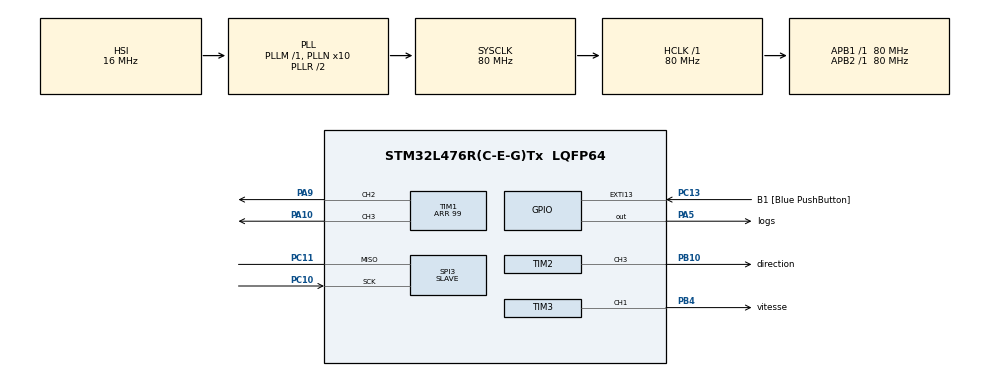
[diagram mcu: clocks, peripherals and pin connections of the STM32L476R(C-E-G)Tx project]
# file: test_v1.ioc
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Dma.Request0=TIM1_CH2
Dma.Request1=TIM1_CH3
Dma.TIM1_CH2.0.Direction=DMA_MEMORY_TO_PERIPH
Dma.TIM1_CH2.0.Instance=DMA1_Channel3
Dma.TIM1_CH2.0.MemDataAlignment=DMA_MDATAALIGN_HALFWORD
Dma.TIM1_CH2.0.MemInc=DMA_MINC_ENABLE
Dma.TIM1_CH2.0.Mode=DMA_NORMAL
Dma.TIM1_CH2.0.PeriphDataAlignment=DMA_PDATAALIGN_HALFWORD
Dma.TIM1_CH2.0.PeriphInc=DMA_PINC_DISABLE
Dma.TIM1_CH2.0.Priority=DMA_PRIORITY_HIGH
Dma.TIM1_CH3.1.Direction=DMA_MEMORY_TO_PERIPH
Dma.TIM1_CH3.1.Instance=DMA1_Channel7
Dma.TIM1_CH3.1.MemDataAlignment=DMA_MDATAALIGN_HALFWORD
Dma.TIM1_CH3.1.MemInc=DMA_MINC_ENABLE
Dma.TIM1_CH3.1.Mode=DMA_NORMAL
Dma.TIM1_CH3.1.PeriphDataAlignment=DMA_PDATAALIGN_HALFWORD
Dma.TIM1_CH3.1.PeriphInc=DMA_PINC_DISABLE
Dma.TIM1_CH3.1.Priority=DMA_PRIORITY_HIGH
FREERTOS.Tasks01=defaultTask,0,128,StartDefaultTask,Default,NULL,Dynamic,NULL,NULL
FREERTOS.configENABLE_BACKWARD_COMPATIBILITY=0
FREERTOS.configIDLE_SHOULD_YIELD=1
FREERTOS.configUSE_MUTEXES=0
Mcu.Family=STM32L4
Mcu.Name=STM32L476R(C-E-G)Tx
Mcu.Package=LQFP64
NVIC.DMA1_Channel3_IRQn=true\:5\:0\:false\:false\:true\:true\:false\:true\:true
NVIC.DMA1_Channel7_IRQn=true\:5\:0\:false\:false\:true\:true\:false\:true\:true
NVIC.PriorityGroup=NVIC_PRIORITYGROUP_4
PA10.Signal=S_TIM1_CH3
PA13\ (JTMS-SWDIO).GPIO_Label=TMS
PA13\ (JTMS-SWDIO).Signal=SYS_JTMS-SWDIO
PA14\ (JTCK-SWCLK).GPIO_Label=TCK
PA14\ (JTCK-SWCLK).Signal=SYS_JTCK-SWCLK
PA2.GPIO_Label=USART_TX
PA2.GPIO_Mode=GPIO_MODE_AF_PP
PA2.GPIO_PuPd=GPIO_NOPULL
PA2.GPIO_Speed=GPIO_SPEED_FREQ_VERY_HIGH
PA2.Signal=USART2_TX
PA3.GPIO_Label=USART_RX
PA3.GPIO_Mode=GPIO_MODE_AF_PP
PA3.GPIO_PuPd=GPIO_NOPULL
PA3.GPIO_Speed=GPIO_SPEED_FREQ_VERY_HIGH
PA3.Signal=USART2_RX
PA5.GPIO_Label=logs
PA5.Signal=GPIO_Output
PA9.Signal=S_TIM1_CH2
PB10.GPIO_Label=direction
PB10.Signal=S_TIM2_CH3
PB3\ (JTDO-TRACESWO).GPIO_Label=SWO
PB3\ (JTDO-TRACESWO).Signal=SYS_JTDO-SWO
PB4\ (NJTRST).GPIO_Label=vitesse
PB4\ (NJTRST).Signal=S_TIM3_CH1
PC10.Mode=Simplex_Bidirectional_Slave
PC10.Signal=SPI3_SCK
PC11.Mode=Simplex_Bidirectional_Slave
PC11.Signal=SPI3_MISO
PC13.GPIO_Label=B1 [Blue PushButton]
PC13.GPIO_ModeDefaultEXTI=GPIO_MODE_IT_FALLING
PC13.GPIO_PuPd=GPIO_NOPULL
PC13.Signal=GPXTI13
PC14-OSC32_IN\ (PC14).Signal=RCC_OSC32_IN
PC15-OSC32_OUT\ (PC15).Signal=RCC_OSC32_OUT
PH0-OSC_IN\ (PH0).Signal=RCC_OSC_IN
PH1-OSC_OUT\ (PH1).Signal=RCC_OSC_OUT
ProjectManager.HeapSize=0x200
ProjectManager.StackSize=0x400
ProjectManager.TargetToolchain=STM32CubeIDE
RCC.ADCFreq_Value=64000000
RCC.AHBFreq_Value=80000000
RCC.APB1Freq_Value=80000000
RCC.APB1TimFreq_Value=80000000
RCC.APB2Freq_Value=80000000
RCC.APB2TimFreq_Value=80000000
RCC.CortexFreq_Value=80000000
RCC.HCLKFreq_Value=80000000
RCC.HSE_VALUE=8000000
RCC.HSI_VALUE=16000000
RCC.LSE_VALUE=32768
RCC.MSI_VALUE=4000000
RCC.PLLN=10
RCC.PLLSourceVirtual=RCC_PLLSOURCE_HSI
RCC.PREFETCH_ENABLE=1
RCC.SYSCLKFreq_VALUE=80000000
RCC.SYSCLKSource=RCC_SYSCLKSOURCE_PLLCLK
RCC.USBFreq_Value=64000000
RCC.VCOOutputFreq_Value=160000000
SH.S_TIM1_CH2.0=TIM1_CH2,PWM Generation2 CH2
SH.S_TIM1_CH3.0=TIM1_CH3,PWM Generation3 CH3
SH.S_TIM2_CH3.0=TIM2_CH3,PWM Generation3 CH3
SH.S_TIM3_CH1.0=TIM3_CH1,PWM Generation1 CH1
SPI3.Direction=SPI_DIRECTION_1LINE
SPI3.Mode=SPI_MODE_SLAVE
SPI3.VirtualType=VM_SLAVE
TIM1.AutoReloadPreload=TIM_AUTORELOAD_PRELOAD_ENABLE
TIM1.Channel-PWM\ Generation2\ CH2=TIM_CHANNEL_2
TIM1.Channel-PWM\ Generation3\ CH3=TIM_CHANNEL_3
TIM1.OCFastMode_PWM-PWM\ Generation2\ CH2=TIM_OCFAST_ENABLE
TIM1.OCFastMode_PWM-PWM\ Generation3\ CH3=TIM_OCFAST_ENABLE
TIM1.Period=99
TIM2.Channel-PWM\ Generation3\ CH3=TIM_CHANNEL_3
TIM3.Channel-PWM\ Generation1\ CH1=TIM_CHANNEL_1
VP_FREERTOS_VS_CMSIS_V1.Mode=CMSIS_V1
VP_TIM1_VS_ClockSourceINT.Mode=Internal
board=NUCLEO-L476RG

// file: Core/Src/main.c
/* USER CODE BEGIN Header */
/**
  ******************************************************************************
  * @file           : main.c
  * @brief          : Main program body
  ******************************************************************************
  * @attention
  *
  * Copyright (c) 2025 STMicroelectronics.
  * All rights reserved.
  *
  * This software is licensed under terms that can be found in the LICENSE file
  * in the root directory of this software component.
  * If no LICENSE file comes with this software, it is provided AS-IS.
  *
  ******************************************************************************
  */
/* USER CODE END Header */
#include "main.h"
#include "cmsis_os.h"

/* USER CODE BEGIN Includes */
#include "ensi_uart.h"
/* USER CODE END Includes */

SPI_HandleTypeDef hspi3;

TIM_HandleTypeDef htim1;
TIM_HandleTypeDef htim2;
TIM_HandleTypeDef htim3;
DMA_HandleTypeDef hdma_tim1_ch2;
DMA_HandleTypeDef hdma_tim1_ch3;

osThreadId defaultTaskHandle;

void SystemClock_Config(void);
static void MX_GPIO_Init(void);
static void MX_DMA_Init(void);
static void MX_TIM2_Init(void);
static void MX_SPI3_Init(void);
static void MX_TIM3_Init(void);
static void MX_TIM1_Init(void);
void StartDefaultTask(void const * argument);

int main(void)
{

  /* MCU Configuration--------------------------------------------------------*/

  /* Reset of all peripherals, Initializes the Flash interface and the Systick. */
  HAL_Init();

  /* Configure the system clock */
  SystemClock_Config();

  /* Initialize all configured peripherals */
  MX_GPIO_Init();
  MX_DMA_Init();
  MX_TIM2_Init();
  MX_SPI3_Init();
  MX_TIM3_Init();
  MX_TIM1_Init();
  /* USER CODE BEGIN 2 */
  ENSI_UART_Init();
  ENSI_UART_PutString(((const uint8_t*)"\r\nInitialisation du programme"));

  /* USER CODE END 2 */

  /* Create the thread(s) */
  /* definition and creation of defaultTask */
  osThreadDef(defaultTask, StartDefaultTask, osPriorityNormal, 0, 128);
  defaultTaskHandle = osThreadCreate(osThread(defaultTask), NULL);

  /* USER CODE BEGIN RTOS_THREADS */
  /* add threads, ... */
  app_init();
  /* USER CODE END RTOS_THREADS */

  /* Start scheduler */
  osKernelStart();

  /* We should never get here as control is now taken by the scheduler */

  /* Infinite loop */
  while (1)
  {

  }
}

void SystemClock_Config(void)
{
  RCC_OscInitTypeDef RCC_OscInitStruct = {0};
  RCC_ClkInitTypeDef RCC_ClkInitStruct = {0};

  /** Configure the main internal regulator output voltage
  */
  if (HAL_PWREx_ControlVoltageScaling(PWR_REGULATOR_VOLTAGE_SCALE1) != HAL_OK)
  {
    Error_Handler();
  }

  /** Initializes the RCC Oscillators according to the specified parameters
  * in the RCC_OscInitTypeDef structure.
  */
  RCC_OscInitStruct.OscillatorType = RCC_OSCILLATORTYPE_HSI;
  RCC_OscInitStruct.HSIState = RCC_HSI_ON;
  RCC_OscInitStruct.HSICalibrationValue = RCC_HSICALIBRATION_DEFAULT;
  RCC_OscInitStruct.PLL.PLLState = RCC_PLL_ON;
  RCC_OscInitStruct.PLL.PLLSource = RCC_PLLSOURCE_HSI;
  RCC_OscInitStruct.PLL.PLLM = 1;
  RCC_OscInitStruct.PLL.PLLN = 10;
  RCC_OscInitStruct.PLL.PLLP = RCC_PLLP_DIV7;
  RCC_OscInitStruct.PLL.PLLQ = RCC_PLLQ_DIV2;
  RCC_OscInitStruct.PLL.PLLR = RCC_PLLR_DIV2;
  if (HAL_RCC_OscConfig(&RCC_OscInitStruct) != HAL_OK)
  {
    Error_Handler();
  }

  /** Initializes the CPU, AHB and APB buses clocks
  */
  RCC_ClkInitStruct.ClockType = RCC_CLOCKTYPE_HCLK|RCC_CLOCKTYPE_SYSCLK
                              |RCC_CLOCKTYPE_PCLK1|RCC_CLOCKTYPE_PCLK2;
  RCC_ClkInitStruct.SYSCLKSource = RCC_SYSCLKSOURCE_PLLCLK;
  RCC_ClkInitStruct.AHBCLKDivider = RCC_SYSCLK_DIV1;
  RCC_ClkInitStruct.APB1CLKDivider = RCC_HCLK_DIV1;
  RCC_ClkInitStruct.APB2CLKDivider = RCC_HCLK_DIV1;

  if (HAL_RCC_ClockConfig(&RCC_ClkInitStruct, FLASH_LATENCY_4) != HAL_OK)
  {
    Error_Handler();
  }
}

static void MX_SPI3_Init(void)
{

  /* SPI3 parameter configuration*/
  hspi3.Instance = SPI3;
  hspi3.Init.Mode = SPI_MODE_SLAVE;
  hspi3.Init.Direction = SPI_DIRECTION_1LINE;
  hspi3.Init.DataSize = SPI_DATASIZE_4BIT;
  hspi3.Init.CLKPolarity = SPI_POLARITY_LOW;
  hspi3.Init.CLKPhase = SPI_PHASE_1EDGE;
  hspi3.Init.NSS = SPI_NSS_SOFT;
  hspi3.Init.FirstBit = SPI_FIRSTBIT_MSB;
  hspi3.Init.TIMode = SPI_TIMODE_DISABLE;
  hspi3.Init.CRCCalculation = SPI_CRCCALCULATION_DISABLE;
  hspi3.Init.CRCPolynomial = 7;
  hspi3.Init.CRCLength = SPI_CRC_LENGTH_DATASIZE;
  hspi3.Init.NSSPMode = SPI_NSS_PULSE_DISABLE;
  if (HAL_SPI_Init(&hspi3) != HAL_OK)
  {
    Error_Handler();
  }

}

static void MX_TIM1_Init(void)
{

  TIM_ClockConfigTypeDef sClockSourceConfig = {0};
  TIM_MasterConfigTypeDef sMasterConfig = {0};
  TIM_OC_InitTypeDef sConfigOC = {0};
  TIM_BreakDeadTimeConfigTypeDef sBreakDeadTimeConfig = {0};

  htim1.Instance = TIM1;
  htim1.Init.Prescaler = 0;
  htim1.Init.CounterMode = TIM_COUNTERMODE_UP;
  htim1.Init.Period = 99;
  htim1.Init.ClockDivision = TIM_CLOCKDIVISION_DIV1;
  htim1.Init.RepetitionCounter = 0;
  htim1.Init.AutoReloadPreload = TIM_AUTORELOAD_PRELOAD_ENABLE;
  if (HAL_TIM_Base_Init(&htim1) != HAL_OK)
  {
    Error_Handler();
  }
  sClockSourceConfig.ClockSource = TIM_CLOCKSOURCE_INTERNAL;
  if (HAL_TIM_ConfigClockSource(&htim1, &sClockSourceConfig) != HAL_OK)
  {
    Error_Handler();
  }
  if (HAL_TIM_PWM_Init(&htim1) != HAL_OK)
  {
    Error_Handler();
  }
  sMasterConfig.MasterOutputTrigger = TIM_TRGO_RESET;
  sMasterConfig.MasterOutputTrigger2 = TIM_TRGO2_RESET;
  sMasterConfig.MasterSlaveMode = TIM_MASTERSLAVEMODE_DISABLE;
  if (HAL_TIMEx_MasterConfigSynchronization(&htim1, &sMasterConfig) != HAL_OK)
  {
    Error_Handler();
  }
  sConfigOC.OCMode = TIM_OCMODE_PWM1;
  sConfigOC.Pulse = 0;
  sConfigOC.OCPolarity = TIM_OCPOLARITY_HIGH;
  sConfigOC.OCNPolarity = TIM_OCNPOLARITY_HIGH;
  sConfigOC.OCFastMode = TIM_OCFAST_ENABLE;
  sConfigOC.OCIdleState = TIM_OCIDLESTATE_RESET;
  sConfigOC.OCNIdleState = TIM_OCNIDLESTATE_RESET;
  if (HAL_TIM_PWM_ConfigChannel(&htim1, &sConfigOC, TIM_CHANNEL_2) != HAL_OK)
  {
    Error_Handler();
  }
  if (HAL_TIM_PWM_ConfigChannel(&htim1, &sConfigOC, TIM_CHANNEL_3) != HAL_OK)
  {
    Error_Handler();
  }
  sBreakDeadTimeConfig.OffStateRunMode = TIM_OSSR_DISABLE;
  sBreakDeadTimeConfig.OffStateIDLEMode = TIM_OSSI_DISABLE;
  sBreakDeadTimeConfig.LockLevel = TIM_LOCKLEVEL_OFF;
  sBreakDeadTimeConfig.DeadTime = 0;
  sBreakDeadTimeConfig.BreakState = TIM_BREAK_DISABLE;
  sBreakDeadTimeConfig.BreakPolarity = TIM_BREAKPOLARITY_HIGH;
  sBreakDeadTimeConfig.BreakFilter = 0;
  sBreakDeadTimeConfig.Break2State = TIM_BREAK2_DISABLE;
  sBreakDeadTimeConfig.Break2Polarity = TIM_BREAK2POLARITY_HIGH;
  sBreakDeadTimeConfig.Break2Filter = 0;
  sBreakDeadTimeConfig.AutomaticOutput = TIM_AUTOMATICOUTPUT_DISABLE;
  if (HAL_TIMEx_ConfigBreakDeadTime(&htim1, &sBreakDeadTimeConfig) != HAL_OK)
  {
    Error_Handler();
  }
  HAL_TIM_MspPostInit(&htim1);

}

static void MX_TIM2_Init(void)
{

  TIM_MasterConfigTypeDef sMasterConfig = {0};
  TIM_OC_InitTypeDef sConfigOC = {0};

  htim2.Instance = TIM2;
  htim2.Init.Prescaler = 79;
  htim2.Init.CounterMode = TIM_COUNTERMODE_UP;
  htim2.Init.Period = 19999;
  htim2.Init.ClockDivision = TIM_CLOCKDIVISION_DIV1;
  htim2.Init.AutoReloadPreload = TIM_AUTORELOAD_PRELOAD_DISABLE;
  if (HAL_TIM_PWM_Init(&htim2) != HAL_OK)
  {
    Error_Handler();
  }
  sMasterConfig.MasterOutputTrigger = TIM_TRGO_RESET;
  sMasterConfig.MasterSlaveMode = TIM_MASTERSLAVEMODE_DISABLE;
  if (HAL_TIMEx_MasterConfigSynchronization(&htim2, &sMasterConfig) != HAL_OK)
  {
    Error_Handler();
  }
  sConfigOC.OCMode = TIM_OCMODE_PWM1;
  sConfigOC.Pulse = 0;
  sConfigOC.OCPolarity = TIM_OCPOLARITY_HIGH;
  sConfigOC.OCFastMode = TIM_OCFAST_DISABLE;
  if (HAL_TIM_PWM_ConfigChannel(&htim2, &sConfigOC, TIM_CHANNEL_3) != HAL_OK)
  {
    Error_Handler();
  }
  HAL_TIM_MspPostInit(&htim2);

}

static void MX_TIM3_Init(void)
{

  TIM_MasterConfigTypeDef sMasterConfig = {0};
  TIM_OC_InitTypeDef sConfigOC = {0};

  htim3.Instance = TIM3;
  htim3.Init.Prescaler = 79;
  htim3.Init.CounterMode = TIM_COUNTERMODE_UP;
  htim3.Init.Period = 19999;
  htim3.Init.ClockDivision = TIM_CLOCKDIVISION_DIV1;
  htim3.Init.AutoReloadPreload = TIM_AUTORELOAD_PRELOAD_DISABLE;
  if (HAL_TIM_PWM_Init(&htim3) != HAL_OK)
  {
    Error_Handler();
  }
  sMasterConfig.MasterOutputTrigger = TIM_TRGO_RESET;
  sMasterConfig.MasterSlaveMode = TIM_MASTERSLAVEMODE_DISABLE;
  if (HAL_TIMEx_MasterConfigSynchronization(&htim3, &sMasterConfig) != HAL_OK)
  {
    Error_Handler();
  }
  sConfigOC.OCMode = TIM_OCMODE_PWM1;
  sConfigOC.Pulse = 0;
  sConfigOC.OCPolarity = TIM_OCPOLARITY_HIGH;
  sConfigOC.OCFastMode = TIM_OCFAST_DISABLE;
  if (HAL_TIM_PWM_ConfigChannel(&htim3, &sConfigOC, TIM_CHANNEL_1) != HAL_OK)
  {
    Error_Handler();
  }
  HAL_TIM_MspPostInit(&htim3);

}

static void MX_DMA_Init(void)
{

  /* DMA controller clock enable */
  __HAL_RCC_DMA1_CLK_ENABLE();

  /* DMA interrupt init */
  /* DMA1_Channel3_IRQn interrupt configuration */
  HAL_NVIC_SetPriority(DMA1_Channel3_IRQn, 5, 0);
  HAL_NVIC_EnableIRQ(DMA1_Channel3_IRQn);
  /* DMA1_Channel7_IRQn interrupt configuration */
  HAL_NVIC_SetPriority(DMA1_Channel7_IRQn, 5, 0);
  HAL_NVIC_EnableIRQ(DMA1_Channel7_IRQn);

}

static void MX_GPIO_Init(void)
{
  GPIO_InitTypeDef GPIO_InitStruct = {0};

  /* GPIO Ports Clock Enable */
  __HAL_RCC_GPIOC_CLK_ENABLE();
  __HAL_RCC_GPIOH_CLK_ENABLE();
  __HAL_RCC_GPIOA_CLK_ENABLE();
  __HAL_RCC_GPIOB_CLK_ENABLE();

  /*Configure GPIO pin Output Level */
  HAL_GPIO_WritePin(logs_GPIO_Port, logs_Pin, GPIO_PIN_RESET);

  /*Configure GPIO pin : B1_Pin */
  GPIO_InitStruct.Pin = B1_Pin;
  GPIO_InitStruct.Mode = GPIO_MODE_IT_FALLING;
  GPIO_InitStruct.Pull = GPIO_NOPULL;
  HAL_GPIO_Init(B1_GPIO_Port, &GPIO_InitStruct);

  /*Configure GPIO pins : USART_TX_Pin USART_RX_Pin */
  GPIO_InitStruct.Pin = USART_TX_Pin|USART_RX_Pin;
  GPIO_InitStruct.Mode = GPIO_MODE_AF_PP;
  GPIO_InitStruct.Pull = GPIO_NOPULL;
  GPIO_InitStruct.Speed = GPIO_SPEED_FREQ_VERY_HIGH;
  GPIO_InitStruct.Alternate = GPIO_AF7_USART2;
  HAL_GPIO_Init(GPIOA, &GPIO_InitStruct);

  /*Configure GPIO pin : logs_Pin */
  GPIO_InitStruct.Pin = logs_Pin;
  GPIO_InitStruct.Mode = GPIO_MODE_OUTPUT_PP;
  GPIO_InitStruct.Pull = GPIO_NOPULL;
  GPIO_InitStruct.Speed = GPIO_SPEED_FREQ_LOW;
  HAL_GPIO_Init(logs_GPIO_Port, &GPIO_InitStruct);

}

void StartDefaultTask(void const * argument)
{
  for(;;)
  {
    osDelay(1);
  }
}

void Error_Handler(void)
{
  __disable_irq();
  while (1)
  {
  }
}

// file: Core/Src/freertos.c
/* USER CODE BEGIN Header */
/**
  ******************************************************************************
  * File Name          : freertos.c
  * Description        : Code for freertos applications
  ******************************************************************************
  * @attention
  *
  * Copyright (c) 2025 STMicroelectronics.
  * All rights reserved.
  *
  * This software is licensed under terms that can be found in the LICENSE file
  * in the root directory of this software component.
  * If no LICENSE file comes with this software, it is provided AS-IS.
  *
  ******************************************************************************
  */
/* USER CODE END Header */

#include "FreeRTOS.h"
#include "task.h"
#include "main.h"

/* USER CODE BEGIN Includes */
#include "ensi_uart.h"
#include <stdio.h>
#include "queue.h"
#include <stdarg.h>
#include <string.h>
/* USER CODE END Includes */

/* USER CODE BEGIN Variables */
volatile int duty_direction = 1400;
volatile int duty_vitesse = 1400;
volatile float input_avant = 0.0f;
volatile float input_dir = 0.0f;
volatile float input_arriere = 0.0f;

#define LOG_QUEUE_LENGTH 50
#define LOG_ITEM_SIZE    256

extern TIM_HandleTypeDef htim1;
extern DMA_HandleTypeDef hdma_tim1_ch3;
extern DMA_HandleTypeDef hdma_tim1_ch2;

static uint16_t led_buffer[LED_BUFFER_SIZE];
static uint8_t RGB_buffer[LED_COUNT][3];

static uint16_t circle_led_buffer[CIRCLE_LED_BUFFER_SIZE];
static uint8_t circle_RGBW_buffer[CIRCLE_LED_COUNT][4];

/* USER CODE END Variables */

/* USER CODE BEGIN FunctionPrototypes */
static void byte_to_pwm(uint8_t byte, uint16_t *out);

void np_set_pixel(uint16_t i, uint8_t r, uint8_t g, uint8_t b);
void np_set_all_leds(uint8_t r, uint8_t g, uint8_t b);
void np_clear(void);
void np_show(void);

void np_set_pixel_circle(uint16_t i, uint8_t r, uint8_t g, uint8_t b, uint8_t w);
void np_set_all_leds_circle(uint8_t r, uint8_t g, uint8_t b, uint8_t w);
void np_clear_circle(void);
void np_show_circle(void);
/*
 *
 * STICK LED
 *
 */

static void byte_to_pwm(uint8_t byte, uint16_t *out) {
  for (int i = 0; i < 8; i++) {
    out[i] = (byte & (1 << (7 - i))) ? T1H_TICKS : T0H_TICKS;
  }
}

void np_set_pixel(uint16_t i, uint8_t r, uint8_t g, uint8_t b) {
  if (i >= LED_COUNT) return;
  RGB_buffer[i][0] = g;
  RGB_buffer[i][1] = r;
  RGB_buffer[i][2] = b;
}

void np_set_all_leds(uint8_t r, uint8_t g, uint8_t b){
	for (int pos = 0; pos < LED_COUNT; pos++) {
		np_set_pixel(pos, r, g, b);
	}
}

void np_clear(void) {
  memset(RGB_buffer, 0, sizeof(RGB_buffer));
}

void np_show(void) {
  uint16_t *p = led_buffer;
  for (int i = 0; i < LED_COUNT; i++) {
    byte_to_pwm(RGB_buffer[i][0], p); p += 8; // G
    byte_to_pwm(RGB_buffer[i][1], p); p += 8; // R
    byte_to_pwm(RGB_buffer[i][2], p); p += 8; // B
  }
  for (int i = 0; i < RESET_SLOTS; i++) *p++ = 0;

  __HAL_TIM_SET_AUTORELOAD(&htim1, ARR_VALUE);

  HAL_TIM_PWM_Start_DMA(&htim1, TIM_CHANNEL_3,
                        (uint32_t*)led_buffer, (uint32_t)(p - led_buffer));

  while (hdma_tim1_ch3.State != HAL_DMA_STATE_READY) { }

  HAL_TIM_PWM_Stop_DMA(&htim1, TIM_CHANNEL_3);

}

/*
 *
 * CIRCLE LED
 *
 */

void np_set_pixel_circle(uint16_t i, uint8_t r, uint8_t g, uint8_t b, uint8_t w) {
  if (i >= CIRCLE_LED_COUNT) return;
  circle_RGBW_buffer[i][0] = g;
  circle_RGBW_buffer[i][1] = r;
  circle_RGBW_buffer[i][2] = b;
  circle_RGBW_buffer[i][3] = w;
}

void np_set_all_leds_circle(uint8_t r, uint8_t g, uint8_t b, uint8_t w){
	for (int pos = 0; pos < CIRCLE_LED_COUNT; pos++) {
		np_set_pixel_circle(pos, r, g, b, w);
	}
}

void np_clear_circle(void) {
  memset(circle_RGBW_buffer, 0, sizeof(circle_RGBW_buffer));
}

void np_show_circle(void) {
  uint16_t *p = circle_led_buffer;
  for (int i = 0; i < CIRCLE_LED_COUNT; i++) {
    byte_to_pwm(circle_RGBW_buffer[i][0], p); p += 8; // G
    byte_to_pwm(circle_RGBW_buffer[i][1], p); p += 8; // R
    byte_to_pwm(circle_RGBW_buffer[i][2], p); p += 8; // B
    byte_to_pwm(circle_RGBW_buffer[i][3], p); p += 8; // W
  }
  for (int i = 0; i < RESET_SLOTS; i++) *p++ = 0;

  __HAL_TIM_SET_AUTORELOAD(&htim1, ARR_VALUE);

  HAL_TIM_PWM_Start_DMA(&htim1, TIM_CHANNEL_2,
                        (uint32_t*)circle_led_buffer, (uint32_t)(p - circle_led_buffer));

  // Attendre la fin du DMA
  while (hdma_tim1_ch2.State != HAL_DMA_STATE_READY) { }

  HAL_TIM_PWM_Stop_DMA(&htim1, TIM_CHANNEL_2);

}

/* USER CODE END FunctionPrototypes */

/* GetIdleTaskMemory prototype (linked to static allocation support) */
void vApplicationGetIdleTaskMemory( StaticTask_t **ppxIdleTaskTCBBuffer, StackType_t **ppxIdleTaskStackBuffer, uint32_t *pulIdleTaskStackSize );

/* USER CODE BEGIN GET_IDLE_TASK_MEMORY */
static StaticTask_t xIdleTaskTCBBuffer;
static StackType_t xIdleStack[configMINIMAL_STACK_SIZE];

void vApplicationGetIdleTaskMemory( StaticTask_t **ppxIdleTaskTCBBuffer, StackType_t **ppxIdleTaskStackBuffer, uint32_t *pulIdleTaskStackSize )
{
  *ppxIdleTaskTCBBuffer = &xIdleTaskTCBBuffer;
  *ppxIdleTaskStackBuffer = &xIdleStack[0];
  *pulIdleTaskStackSize = configMINIMAL_STACK_SIZE;
  /* place for user code */
}
/* USER CODE END GET_IDLE_TASK_MEMORY */

/* USER CODE BEGIN Application */
// c'est ici qu'on code :)

TickType_t tick;
extern SPI_HandleTypeDef hspi2;
extern TIM_HandleTypeDef htim2;
extern TIM_HandleTypeDef htim3;
QueueHandle_t logQueue;

void app_init(void);

//void task1(void *pvParameters);
void task2(void *pvParameters);
void task3(void *pvParameters);
//void task4(void *pvParameters);
void task5(void *pvParameters);
//void task6(void *pvParameters);
void LED_ON(void *pvParameters);
void CircleLED_ON(void *pvParameters);

void app_init(void) {

    /* application tasks creation */

	xTaskCreate(LED_ON, "Barrette_LED", configMINIMAL_STACK_SIZE, NULL, tskIDLE_PRIORITY, NULL);
	xTaskCreate(CircleLED_ON, "LED_Circulaire", configMINIMAL_STACK_SIZE, NULL, tskIDLE_PRIORITY, NULL);

	xTaskCreate(task2,
				"direction",
				configMINIMAL_STACK_SIZE,
				NULL,
				tskIDLE_PRIORITY+1,
				NULL);

	xTaskCreate(task3,
				"vitesse",
				configMINIMAL_STACK_SIZE,
				NULL,
				tskIDLE_PRIORITY+1,
				NULL);

	xTaskCreate(task5,
				"conversion",
				configMINIMAL_STACK_SIZE,
				NULL,
				tskIDLE_PRIORITY+1,
				NULL);

}

/*
void task1(void *pvParameters) {
	/*
	 * tâche pour le SPI

	while(1) {
    	taskENTER_CRITICAL();
		input = 0;
    	taskEXIT_CRITICAL();
	}
}
*/
void task2(void *pvParameters) {
	/*
	 * tâche de direction,
	 * 1200 a gauche
	 * 1600 a droite
	 * point neutre a 1400
	*/
    HAL_TIM_PWM_Start(&htim2, TIM_CHANNEL_3);	// initialisation timer pour pwm
	__HAL_TIM_SET_COMPARE(&htim2, TIM_CHANNEL_3, 1400);
    while(1) {
        __HAL_TIM_SET_COMPARE(&htim2, TIM_CHANNEL_3, duty_direction);
        vTaskDelay(pdMS_TO_TICKS(10));
     }
}

void task3(void *pvParameters) {
	/*
	 * tâche de vitesse
	 * Début bruit 1450 / Démarre 1480   / Max 1500 (Plus on va haut, plus ça avance)
	 * Début bruit 1350 / Démarre à 1320 / Max 1300 (Plus on va bas, plus ça recule)
	 * 1300 - 1320 / 1480 - 1500
	 * Break à 1400
	 */
    HAL_TIM_PWM_Start(&htim3, TIM_CHANNEL_1);	// initialisation timer pour pwm
	__HAL_TIM_SET_COMPARE(&htim3, TIM_CHANNEL_1, 1400);
    while(1) {
    	__HAL_TIM_SET_COMPARE(&htim3, TIM_CHANNEL_1, duty_vitesse);
        vTaskDelay(pdMS_TO_TICKS(10));
    }
}

void task5(void *pvParameters) {
	/*
	 * tâche de conversion SPI-input
	 */
    while(1) {
    	taskENTER_CRITICAL();

    	duty_direction = (int)(1400 + input_dir * 200);

    	input_arriere = -(input_arriere +1);
    	input_avant = input_avant + 1;
    	duty_vitesse = (int)(1400 + (input_arriere + input_avant) * 50);

    	taskEXIT_CRITICAL();
    	vTaskDelay(pdMS_TO_TICKS(10));
    }
}
/*
void task6(void *pvParameters) {
    char buf[LOG_ITEM_SIZE];

    for(;;) {
        // Attend un message (bloquant jusqu’à 500 ms max)
        if (xQueueReceive(logQueue, buf, pdMS_TO_TICKS(500)) == pdPASS) {
            HAL_GPIO_WritePin(logs_GPIO_Port, logs_Pin, GPIO_PIN_SET);
            ENSI_UART_PutString((uint8_t*)buf);
            HAL_GPIO_WritePin(logs_GPIO_Port, logs_Pin, GPIO_PIN_RESET);
        }
    }
}
*/
void LED_ON(void *pvParameters){
	while(1){

			np_clear();
			for (int pos = 0; pos < 4; pos++) {
				np_set_pixel(pos, 255, 0, 0);
			}
			for (int pos = 4; pos < LED_COUNT; pos++) {
				np_set_pixel(pos, 0, 0, 255);
			}
	  	    np_show();

	  	    HAL_Delay(200);

			np_clear();
			for (int pos = 0; pos < 4; pos++) {
				np_set_pixel(pos, 0, 0, 255);
			}
			for (int pos = 4; pos < LED_COUNT; pos++) {
				np_set_pixel(pos, 255, 0, 0);
			}
	  	    np_show();

	  	    HAL_Delay(200);
	}
}

void CircleLED_ON(void *pvParameters){

	while(1){

		np_clear_circle();
		np_set_all_leds_circle(0, 0, 255, 0);
  	    np_show_circle();

  	    HAL_Delay(200);

  	    np_clear_circle();
  	    np_set_all_leds_circle(255, 0, 0, 0);
  	    np_show_circle();

  	    HAL_Delay(200);
	}

}

/* USER CODE END Application */
